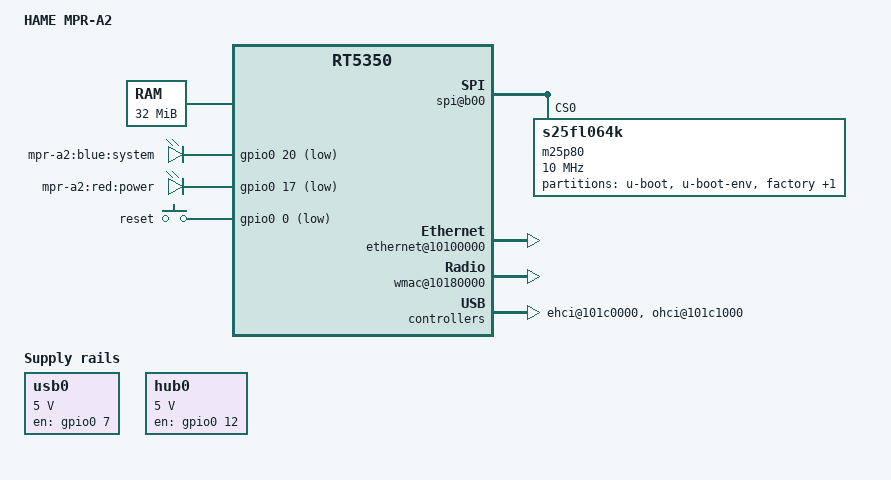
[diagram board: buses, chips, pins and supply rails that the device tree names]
/dts-v1/;

/include/ "rt5350.dtsi"

/ {
	compatible = "MPRA2", "ralink,rt5350-soc";
	model = "HAME MPR-A2";

	memory@0 {
		reg = <0x0 0x2000000>;
	};

	palmbus@10000000 {
		sysc@0 {
			ralink,pinmux = "i2c", "spi", "uartlite", "mdio", "sdram", "rgmii";
			ralink,gpiomux = "jtag";
			ralink,uartmux = "gpio";
			ralink,wdtmux = <1>;
		};

		gpio0: gpio@600 {
			status = "okay";
		};

		spi@b00 {
			status = "okay";
			m25p80@0 {
				#address-cells = <1>;
				#size-cells = <1>;
				compatible = "s25fl064k";
				reg = <0 0>;
				linux,modalias = "m25p80", "s25fl064k";
				spi-max-frequency = <10000000>;

		partition@0 {
			label = "u-boot";
			reg = <0x0 0x30000>;
			read-only;
		};

		partition@30000 {
			label = "u-boot-env";
			reg = <0x30000 0x10000>;
			read-only;
		};

		factory: partition@40000 {
			label = "factory";
			reg = <0x40000 0x10000>;
			read-only;
		};

		partition@50000 {
			label = "firmware";
			reg = <0x50000 0x7b0000>;
		};
			};
		};
	};

	ethernet@10100000 {
		status = "okay";
	};

	esw@10110000 {
		status = "okay";
		ralink,portmap = <0x2f>;
	};

	wmac@10180000 {
		status = "okay";
	};

	ehci@101c0000 {
		status = "okay";
	};

	ohci@101c1000 {
		status = "okay";
	};

	gpio-leds {
		compatible = "gpio-leds";
		system {
			label = "mpr-a2:blue:system";
			gpios = <&gpio0 20 1>;
		};
		power {
			label = "mpr-a2:red:power";
			gpios = <&gpio0 17 1>;
		};
	};

	gpio-keys-polled {
		compatible = "gpio-keys-polled";
		#address-cells = <1>;
		#size-cells = <0>;
		poll-interval = <20>;
		wps {
			label = "reset";
			gpios = <&gpio0 0 1>;
			linux,code = <0x198>;
		};
	};

	usb0: gpio-regulator {
		compatible = "regulator-gpio";

		regulator-name = "usb0-power";
		regulator-min-microvolt = <5000000>;
		regulator-max-microvolt = <5000000>;
		regulator-boot-on;

		enable-active-high;
		enable-gpio = <&gpio0 7 0>;
	};

	hub0: gpio-regulator {
		compatible = "regulator-gpio";

		regulator-name = "hub0-power";
		regulator-min-microvolt = <5000000>;
		regulator-max-microvolt = <5000000>;
		regulator-boot-on;

		enable-active-high;
		enable-gpio = <&gpio0 12 0>;
	};
};
